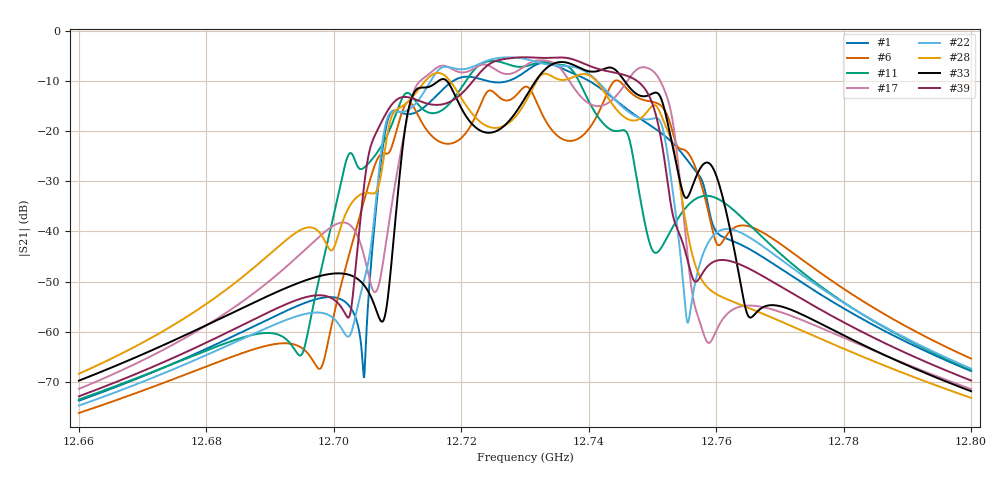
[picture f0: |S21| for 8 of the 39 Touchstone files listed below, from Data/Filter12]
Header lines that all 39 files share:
! TOUCHSTONE file generated by CST MICROWAVE STUDIO
! Project name: WaveGuide_BPF-Ver4.1_U-shape_Ku_T3_C4_CWA_2.cst
! Header version: 2018
! Port assignment regex: !\s*Touchstone port\s*([0-9]+)\s*=\s*(CST MWS port|CST DS port)\s*([0-9]+|Zmin|Zmax)\s*\(\"(.*)\"\)(\s*mode\s*([0-9]+))?.*
! Touchstone port assignment:
! Touchstone port 1 = CST MWS port 1 ("")
! Touchstone port 2 = CST MWS port 2 ("")
# GHz S RI R 50
Fixed: cavity_h = 16, cavity_l0 = 10, cavity_r = 2.5, cavity_screw_l = 0.5, cavity_screw_r = 1.5, cavity_w = 8, iris_h00 = 0, iris_h112 = 0, iris_rx = 0.1, iris_screw_l = 0.5, iris_screw_r = 1.5, iris_shift00 = 0, iris_shift112 = 0, iris_shift211 = 3.5, iris_shift310 = 0, iris_shift49 = 0, iris_shift58 = 3.5, iris_shift67 = 3.5, iris_tx = 4.5, iris_tz = 4.5, iris_w00 = 0, iris_w112 = 0, iris_w211 = 4, iris_w58 = 4, iris_w67 = 4, mesh_cavity = 5, mesh_iris = 7, mesh_screw = 7, order = 12, reset_all = 0, sigma = 4.8e+07
Also varied, not listed: iris_h45, iris_h49, iris_h56, iris_h58, iris_h67, iris_w310, iris_w49
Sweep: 12.66 GHz to 12.8 GHz
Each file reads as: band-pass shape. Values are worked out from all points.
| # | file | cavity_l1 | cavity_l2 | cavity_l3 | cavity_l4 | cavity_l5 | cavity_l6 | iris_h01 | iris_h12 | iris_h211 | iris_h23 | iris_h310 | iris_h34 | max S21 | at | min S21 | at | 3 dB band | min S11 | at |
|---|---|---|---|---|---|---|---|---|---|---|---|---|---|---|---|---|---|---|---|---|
| 1 | 041_Sprms.s2p | 15.1894 | 16.8212 | 17.0951 | 17.2732 | 17.1581 | 17.5628 | 8.8262 | 5.6036 | 3.6673 | 5.1946 | 3.9729 | 5.0791 | -6.31 dB | 12.733 GHz | -73.8 dB | 12.66 GHz | 12.729 GHz-12.739 GHz | -14.4 dB | 12.733 GHz |
| 2 | 042_Sprms.s2p | 15.2186 | 16.8383 | 17.1344 | 17.283 | 17.0984 | 17.5716 | 8.8056 | 5.5962 | 3.6683 | 5.1934 | 3.9796 | 5.0768 | -6.15 dB | 12.727 GHz | -72.1 dB | 12.66 GHz | 12.72 GHz-12.732 GHz | -13.4 dB | 12.727 GHz |
| 3 | 043_Sprms.s2p | 15.2208 | 16.8195 | 17.1132 | 17.2563 | 17.149 | 17.5658 | 8.8007 | 5.6038 | 3.6673 | 5.2053 | 3.9633 | 5.0865 | -6.21 dB | 12.718 GHz | -73.0 dB | 12.66 GHz | 12.714 GHz-12.721 GHz | -23.9 dB | 12.718 GHz |
| 4 | 044_Sprms.s2p | 15.1746 | 16.868 | 17.1454 | 17.231 | 17.1455 | 17.5824 | 8.8159 | 5.611 | 3.651 | 5.2071 | 3.9702 | 5.0789 | -7.31 dB | 12.719 GHz | -71.7 dB | 12.8 GHz | 12.716 GHz-12.725 GHz | -11.6 dB | 12.719 GHz |
| 5 | 045_Sprms.s2p | 15.1976 | 16.8833 | 17.0781 | 17.2636 | 17.0892 | 17.6375 | 8.8184 | 5.5931 | 3.6516 | 5.2084 | 3.9725 | 5.0852 | -7.70 dB | 12.721 GHz | -74.4 dB | 12.8 GHz | 12.718 GHz-12.723 GHz | -49.8 dB | 12.746 GHz |
| 6 | 046_Sprms.s2p | 15.1943 | 16.8028 | 17.1314 | 17.2284 | 17.1281 | 17.6007 | 8.8069 | 5.594 | 3.6668 | 5.208 | 3.976 | 5.0909 | -9.82 dB | 12.744 GHz | -76.3 dB | 12.66 GHz | 12.743 GHz-12.747 GHz | -29.1 dB | 12.708 GHz |
| 7 | 047_Sprms.s2p | 15.2095 | 16.8454 | 17.1184 | 17.288 | 17.1695 | 17.5757 | 8.8363 | 5.5895 | 3.659 | 5.1936 | 3.9684 | 5.0881 | -6.35 dB | 12.727 GHz | -71.9 dB | 12.8 GHz | 12.723 GHz-12.736 GHz | -15.8 dB | 12.703 GHz |
| 8 | 048_Sprms.s2p | 15.2143 | 16.8076 | 17.0819 | 17.2275 | 17.0959 | 17.5924 | 8.8243 | 5.6008 | 3.6589 | 5.2078 | 3.9612 | 5.0683 | -5.77 dB | 12.746 GHz | -73.2 dB | 12.66 GHz | 12.731 GHz-12.755 GHz | -13.8 dB | 12.762 GHz |
| 9 | 049_Sprms.s2p | 15.2178 | 16.8678 | 17.1013 | 17.3066 | 17.1499 | 17.6128 | 8.799 | 5.609 | 3.6569 | 5.2034 | 3.9704 | 5.0918 | -6.10 dB | 12.71 GHz | -73.7 dB | 12.8 GHz | 12.722 GHz-12.732 GHz | -16.5 dB | 12.701 GHz |
| 10 | 050_Sprms.s2p | 15.1814 | 16.8836 | 17.0948 | 17.2883 | 17.141 | 17.6021 | 8.8376 | 5.5944 | 3.668 | 5.193 | 3.9627 | 5.0899 | -6.10 dB | 12.712 GHz | -73.4 dB | 12.8 GHz | 12.708 GHz-12.718 GHz | -21.9 dB | 12.747 GHz |
| 11 | 051_Sprms.s2p | 15.2121 | 16.8059 | 17.1119 | 17.3052 | 17.1372 | 17.6075 | 8.8179 | 5.6081 | 3.6639 | 5.1969 | 3.9674 | 5.0835 | -5.96 dB | 12.725 GHz | -73.6 dB | 12.66 GHz | 12.721 GHz-12.738 GHz | -37.0 dB | 12.724 GHz |
| 12 | 052_Sprms.s2p | 15.2102 | 16.8794 | 17.1291 | 17.2686 | 17.129 | 17.6299 | 8.8005 | 5.5982 | 3.668 | 5.1988 | 3.9739 | 5.0676 | -5.13 dB | 12.728 GHz | -73.7 dB | 12.8 GHz | 12.715 GHz-12.738 GHz | -18.6 dB | 12.73 GHz |
| 13 | 053_Sprms.s2p | 15.1728 | 16.8018 | 17.0696 | 17.245 | 17.1349 | 17.5874 | 8.8026 | 5.6014 | 3.6606 | 5.2 | 3.9626 | 5.0921 | -5.76 dB | 12.728 GHz | -77.5 dB | 12.66 GHz | 12.717 GHz-12.737 GHz | -23.7 dB | 12.728 GHz |
| 14 | 054_Sprms.s2p | 15.1694 | 16.8579 | 17.1309 | 17.2467 | 17.1228 | 17.6198 | 8.842 | 5.6136 | 3.6512 | 5.2011 | 3.9757 | 5.0771 | -5.26 dB | 12.727 GHz | -71.6 dB | 12.8 GHz | 12.719 GHz-12.735 GHz | -42.8 dB | 12.726 GHz |
| 15 | 055_Sprms.s2p | 15.1983 | 16.8663 | 17.1326 | 17.2898 | 17.0928 | 17.5677 | 8.8362 | 5.6053 | 3.6659 | 5.196 | 3.9611 | 5.0775 | -7.59 dB | 12.724 GHz | -73.4 dB | 12.8 GHz | 12.722 GHz-12.732 GHz | -10.5 dB | 12.724 GHz |
| 16 | 056_Sprms.s2p | 15.2333 | 16.8453 | 17.091 | 17.31 | 17.1112 | 17.559 | 8.8251 | 5.6132 | 3.6561 | 5.1946 | 3.9763 | 5.0803 | -8.15 dB | 12.738 GHz | -73.7 dB | 12.8 GHz | 12.735 GHz-12.746 GHz | -22.0 dB | 12.707 GHz |
| 17 | 057_Sprms.s2p | 15.1863 | 16.8749 | 17.0974 | 17.255 | 17.1344 | 17.5838 | 8.7991 | 5.5887 | 3.6667 | 5.2053 | 3.9773 | 5.0813 | -5.82 dB | 12.732 GHz | -71.5 dB | 12.8 GHz | 12.715 GHz-12.736 GHz | -15.0 dB | 12.732 GHz |
| 18 | 058_Sprms.s2p | 15.2049 | 16.876 | 17.1096 | 17.2892 | 17.1405 | 17.6258 | 8.8122 | 5.6111 | 3.6666 | 5.2113 | 3.964 | 5.0917 | -5.57 dB | 12.73 GHz | -74.1 dB | 12.8 GHz | 12.722 GHz-12.741 GHz | -21.2 dB | 12.711 GHz |
| 19 | 059_Sprms.s2p | 15.1774 | 16.853 | 17.1206 | 17.2337 | 17.166 | 17.5871 | 8.8184 | 5.5876 | 3.6609 | 5.2024 | 3.9721 | 5.089 | -7.27 dB | 12.712 GHz | -73.4 dB | 12.66 GHz | 12.708 GHz-12.715 GHz | -14.1 dB | 12.706 GHz |
| 20 | 060_Sprms.s2p | 15.2175 | 16.8119 | 17.1241 | 17.2758 | 17.17 | 17.6395 | 8.8023 | 5.5895 | 3.6592 | 5.2024 | 3.9799 | 5.0794 | -6.81 dB | 12.717 GHz | -74.8 dB | 12.66 GHz | 12.706 GHz-12.72 GHz | -15.1 dB | 12.739 GHz |
| 21 | 061_Sprms.s2p | 15.1798 | 16.8186 | 17.1255 | 17.2614 | 17.0943 | 17.6072 | 8.8231 | 5.6037 | 3.6664 | 5.2062 | 3.9609 | 5.0896 | -5.89 dB | 12.73 GHz | -74.6 dB | 12.66 GHz | 12.726 GHz-12.74 GHz | -28.4 dB | 12.729 GHz |
| 22 | 062_Sprms.s2p | 15.1989 | 16.8156 | 17.0939 | 17.2873 | 17.143 | 17.5837 | 8.8123 | 5.5964 | 3.6572 | 5.1967 | 3.9628 | 5.0772 | -5.24 dB | 12.728 GHz | -74.8 dB | 12.66 GHz | 12.716 GHz-12.74 GHz | -30.3 dB | 12.727 GHz |
| 23 | 063_Sprms.s2p | 15.2135 | 16.8038 | 17.0974 | 17.2468 | 17.1379 | 17.6356 | 8.8178 | 5.5949 | 3.6552 | 5.1988 | 3.9645 | 5.0685 | -5.97 dB | 12.727 GHz | -74.5 dB | 12.66 GHz | 12.715 GHz-12.731 GHz | -13.4 dB | 12.722 GHz |
| 24 | 065_Sprms.s2p | 15.2333 | 16.8522 | 17.1096 | 17.2632 | 17.1168 | 17.6288 | 8.8013 | 5.5944 | 3.6533 | 5.2111 | 3.9734 | 5.0754 | -5.05 dB | 12.731 GHz | -73.5 dB | 12.8 GHz | 12.721 GHz-12.744 GHz | -23.5 dB | 12.731 GHz |
| 25 | 066_Sprms.s2p | 15.202 | 16.8794 | 17.1333 | 17.2795 | 17.127 | 17.5765 | 8.8005 | 5.603 | 3.6614 | 5.1987 | 3.9744 | 5.079 | -5.43 dB | 12.73 GHz | -73.3 dB | 12.8 GHz | 12.717 GHz-12.735 GHz | -25.7 dB | 12.731 GHz |
| 26 | 067_Sprms.s2p | 15.1709 | 16.8301 | 17.0843 | 17.2356 | 17.1437 | 17.579 | 8.8112 | 5.5989 | 3.6674 | 5.2036 | 3.9701 | 5.0797 | -6.29 dB | 12.718 GHz | -75.2 dB | 12.66 GHz | 12.725 GHz-12.735 GHz | -25.1 dB | 12.717 GHz |
| 27 | 068_Sprms.s2p | 15.1717 | 16.8349 | 17.1139 | 17.2633 | 17.1685 | 17.6225 | 8.821 | 5.5942 | 3.665 | 5.1989 | 3.9729 | 5.0853 | -6.28 dB | 12.713 GHz | -74.7 dB | 12.66 GHz | 12.707 GHz-12.721 GHz | -15.1 dB | 12.713 GHz |
| 28 | 069_Sprms.s2p | 15.18 | 16.8832 | 17.111 | 17.2805 | 17.0939 | 17.6156 | 8.8227 | 5.6093 | 3.6637 | 5.2014 | 3.9608 | 5.0766 | -8.34 dB | 12.716 GHz | -73.2 dB | 12.8 GHz | 12.731 GHz-12.742 GHz | -17.4 dB | 12.74 GHz |
| 29 | 070_Sprms.s2p | 15.2243 | 16.8799 | 17.143 | 17.2956 | 17.1546 | 17.5972 | 8.8086 | 5.602 | 3.6586 | 5.1881 | 3.9639 | 5.0912 | -4.88 dB | 12.717 GHz | -75.0 dB | 12.8 GHz | 12.709 GHz-12.73 GHz | -23.1 dB | 12.716 GHz |
| 30 | 071_Sprms.s2p | 15.1797 | 16.8573 | 17.068 | 17.2508 | 17.1369 | 17.639 | 8.8382 | 5.588 | 3.6684 | 5.2079 | 3.975 | 5.0741 | -6.19 dB | 12.73 GHz | -71.5 dB | 12.66 GHz | 12.727 GHz-12.741 GHz | -20.8 dB | 12.739 GHz |
| 31 | 072_Sprms.s2p | 15.2223 | 16.8835 | 17.1034 | 17.259 | 17.1644 | 17.5958 | 8.8344 | 5.5935 | 3.6647 | 5.2045 | 3.9662 | 5.0862 | -6.67 dB | 12.722 GHz | -76.3 dB | 12.8 GHz | 12.718 GHz-12.731 GHz | -13.7 dB | 12.749 GHz |
| 32 | 073_Sprms.s2p | 15.1789 | 16.8649 | 17.1052 | 17.3006 | 17.0949 | 17.6414 | 8.8176 | 5.5908 | 3.6575 | 5.1922 | 3.9749 | 5.0904 | -9.60 dB | 12.705 GHz | -72.3 dB | 12.66 GHz | 12.703 GHz-12.709 GHz | -28.0 dB | 12.704 GHz |
| 33 | 074_Sprms.s2p | 15.231 | 16.8286 | 17.0684 | 17.2847 | 17.1114 | 17.5971 | 8.8413 | 5.6017 | 3.6609 | 5.1874 | 3.977 | 5.0821 | -6.17 dB | 12.736 GHz | -71.9 dB | 12.8 GHz | 12.732 GHz-12.745 GHz | -19.4 dB | 12.735 GHz |
| 34 | 075_Sprms.s2p | 15.187 | 16.8561 | 17.138 | 17.2451 | 17.0907 | 17.5982 | 8.8235 | 5.5917 | 3.6549 | 5.2068 | 3.962 | 5.0903 | -5.84 dB | 12.735 GHz | -72.0 dB | 12.66 GHz | 12.73 GHz-12.74 GHz | -16.8 dB | 12.734 GHz |
| 35 | 076_Sprms.s2p | 15.1753 | 16.8209 | 17.1363 | 17.2898 | 17.1295 | 17.6215 | 8.8083 | 5.5998 | 3.6555 | 5.2018 | 3.9719 | 5.0687 | -5.98 dB | 12.733 GHz | -76.0 dB | 12.66 GHz | 12.718 GHz-12.743 GHz | -34.3 dB | 12.721 GHz |
| 36 | 077_Sprms.s2p | 15.1795 | 16.8252 | 17.0982 | 17.2493 | 17.1521 | 17.5881 | 8.8337 | 5.6064 | 3.6643 | 5.204 | 3.9744 | 5.0814 | -5.80 dB | 12.717 GHz | -73.4 dB | 12.66 GHz | 12.711 GHz-12.729 GHz | -24.0 dB | 12.716 GHz |
| 37 | 078_Sprms.s2p | 15.2072 | 16.8576 | 17.1275 | 17.2482 | 17.1105 | 17.5938 | 8.8179 | 5.6127 | 3.6566 | 5.2035 | 3.9714 | 5.0674 | -5.38 dB | 12.731 GHz | -73.0 dB | 12.8 GHz | 12.724 GHz-12.737 GHz | -34.1 dB | 12.731 GHz |
| 38 | 079_Sprms.s2p | 15.1964 | 16.8447 | 17.0733 | 17.2248 | 17.1056 | 17.5656 | 8.809 | 5.6073 | 3.6586 | 5.2061 | 3.9647 | 5.0712 | -5.61 dB | 12.731 GHz | -71.8 dB | 12.66 GHz | 12.724 GHz-12.746 GHz | -14.7 dB | 12.732 GHz |
| 39 | 080_Sprms.s2p | 15.1871 | 16.835 | 17.1136 | 17.2566 | 17.1147 | 17.6206 | 8.8401 | 5.5882 | 3.6645 | 5.2101 | 3.9782 | 5.0777 | -5.22 dB | 12.73 GHz | -72.9 dB | 12.66 GHz | 12.723 GHz-12.744 GHz | -21.3 dB | 12.729 GHz |
